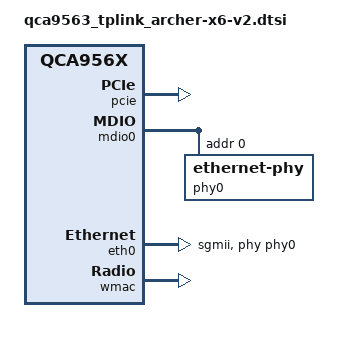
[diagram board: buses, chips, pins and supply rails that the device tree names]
// SPDX-License-Identifier: GPL-2.0-or-later OR MIT

#include "qca956x.dtsi"

#include <dt-bindings/gpio/gpio.h>
#include <dt-bindings/input/input.h>

&pcie {
	status = "okay";
};

&mdio0 {
	status = "okay";

	phy-mask = <0>;

	phy0: ethernet-phy@0 {
		reg = <0>;
		phy-mode = "sgmii";
		qca,mib-poll-interval = <500>;

		qca,ar8327-initvals = <
			0x04 0x00080080 /* PORT0 PAD MODE CTRL */
			0x7c 0x0000007e /* PORT0_STATUS */
			>;
	};
};

&eth0 {
	status = "okay";

	phy-mode = "sgmii";
	phy-handle = <&phy0>;
};

&wmac {
	status = "okay";
};
